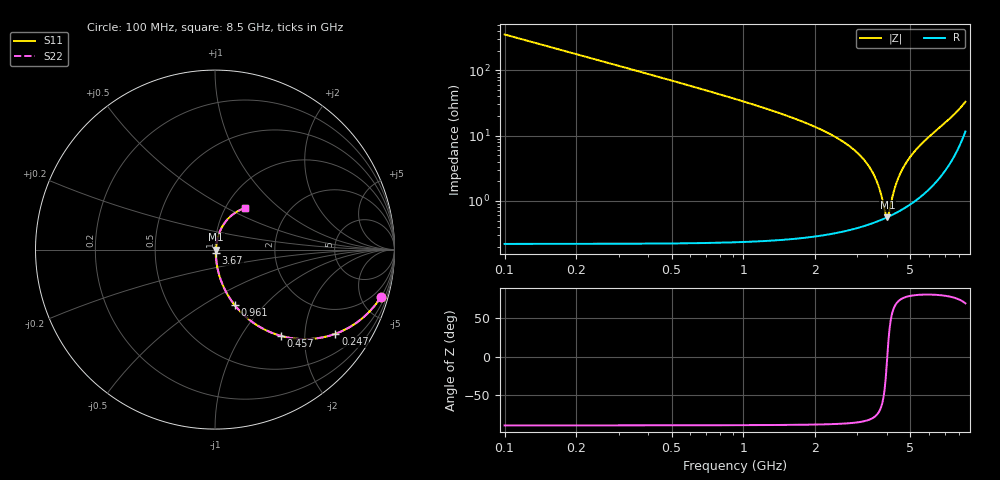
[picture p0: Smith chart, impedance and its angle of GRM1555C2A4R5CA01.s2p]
!Murata Part Number: GRM1555C2A4R5CA01
!These Parameters are Measured in Series Mode Connection
!Data Generated on Mar 30, 2021
!  o--ll--o
!Port1  Port2
!  o------o
!Operation Temp=25[degC], DC Bias Voltage=0[V]
!Freq. Start=100[MHz] Stop=9[GHz] 401[Steps]
# Hz S RI R 50
!Freq.(Hz) S11(Real) S11(Imag) S21(Real) S21(Imag) S12(Real) S12(Imag) S22(Real) S22(Imag)
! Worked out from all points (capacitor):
!   401 points, 100 MHz to 8.5 GHz, reference 50 ohm
!   read as one part in series: C = 4.5 pF near 142 MHz
!   lowest |Z| = 564 mohm at 4.006 GHz (marker M1)
!   series resonance near 4.003 GHz, so ESL is about 350 pH
!   S11 on the Smith chart (normalised r, x): 100 MHz: 1.00, -7.07; 247 MHz: 1.00, -2.85; 457 MHz: 1.00, -1.53; 961 MHz: 1.00, -0.70; 3.67 GHz: 1.01, -0.03; 8.5 GHz: 1.23, +0.62
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1e8  0.9258 -0.2619  0.0742 0.2619  0.0742 0.2619  0.9258 -0.2619
1.84e8  0.7861 -0.4095  0.2139 0.4095  0.2139 0.4095  0.7861 -0.4095
2.47e8  0.6704 -0.4693  0.3296 0.4693  0.3296 0.4693  0.6704 -0.4693
3.31e8  0.5299 -0.4981  0.4701 0.4981  0.4701 0.4981  0.5299 -0.4981
4.57e8  0.3694 -0.4812  0.6306 0.4812  0.6306 0.4812  0.3694 -0.4812
6.67e8  0.2118 -0.4064  0.7882 0.4064  0.7882 0.4064  0.2118 -0.4064
9.61e8  0.11 -0.3095  0.89 0.3095  0.89 0.3095  0.11 -0.3095
1.507e9  0.0422 -0.1949  0.9578 0.1949  0.9578 0.1949  0.0422 -0.1949
2.914e9  0.00727 -0.0593  0.9927 0.0593  0.9927 0.0593  0.00727 -0.0593
3.355e9  0.00546 -0.0332  0.9945 0.0332  0.9945 0.0332  0.00546 -0.0332
3.67e9  0.00517 -0.0165  0.9948 0.0165  0.9948 0.0165  0.00517 -0.0165
3.775e9  0.00523 -0.0112  0.9948 0.0112  0.9948 0.0112  0.00523 -0.0112
3.943e9  0.00547 -0.0029  0.9945 0.0029  0.9945 0.0029  0.00547 -0.0029
4.006e9  0.00561 0.000157  0.9944 -0.000157  0.9944 -0.000157  0.00561 0.000157
4.069e9  0.00577 0.00318  0.9942 -0.00318  0.9942 -0.00318  0.00577 0.00318
4.3e9  0.00656 0.0141  0.9934 -0.0141  0.9934 -0.0141  0.00656 0.0141
4.531e9  0.00766 0.0247  0.9923 -0.0247  0.9923 -0.0247  0.00766 0.0247
4.825e9  0.00953 0.038  0.9905 -0.038  0.9905 -0.038  0.00953 0.038
5.203e9  0.0128 0.0551  0.9872 -0.0551  0.9872 -0.0551  0.0128 0.0551
5.707e9  0.0189 0.0782  0.9811 -0.0782  0.9811 -0.0782  0.0189 0.0782
7.114e9  0.0547 0.1503  0.9453 -0.1503  0.9453 -0.1503  0.0547 0.1503
8.5e9  0.1676 0.231  0.8324 -0.231  0.8324 -0.231  0.1676 0.231
